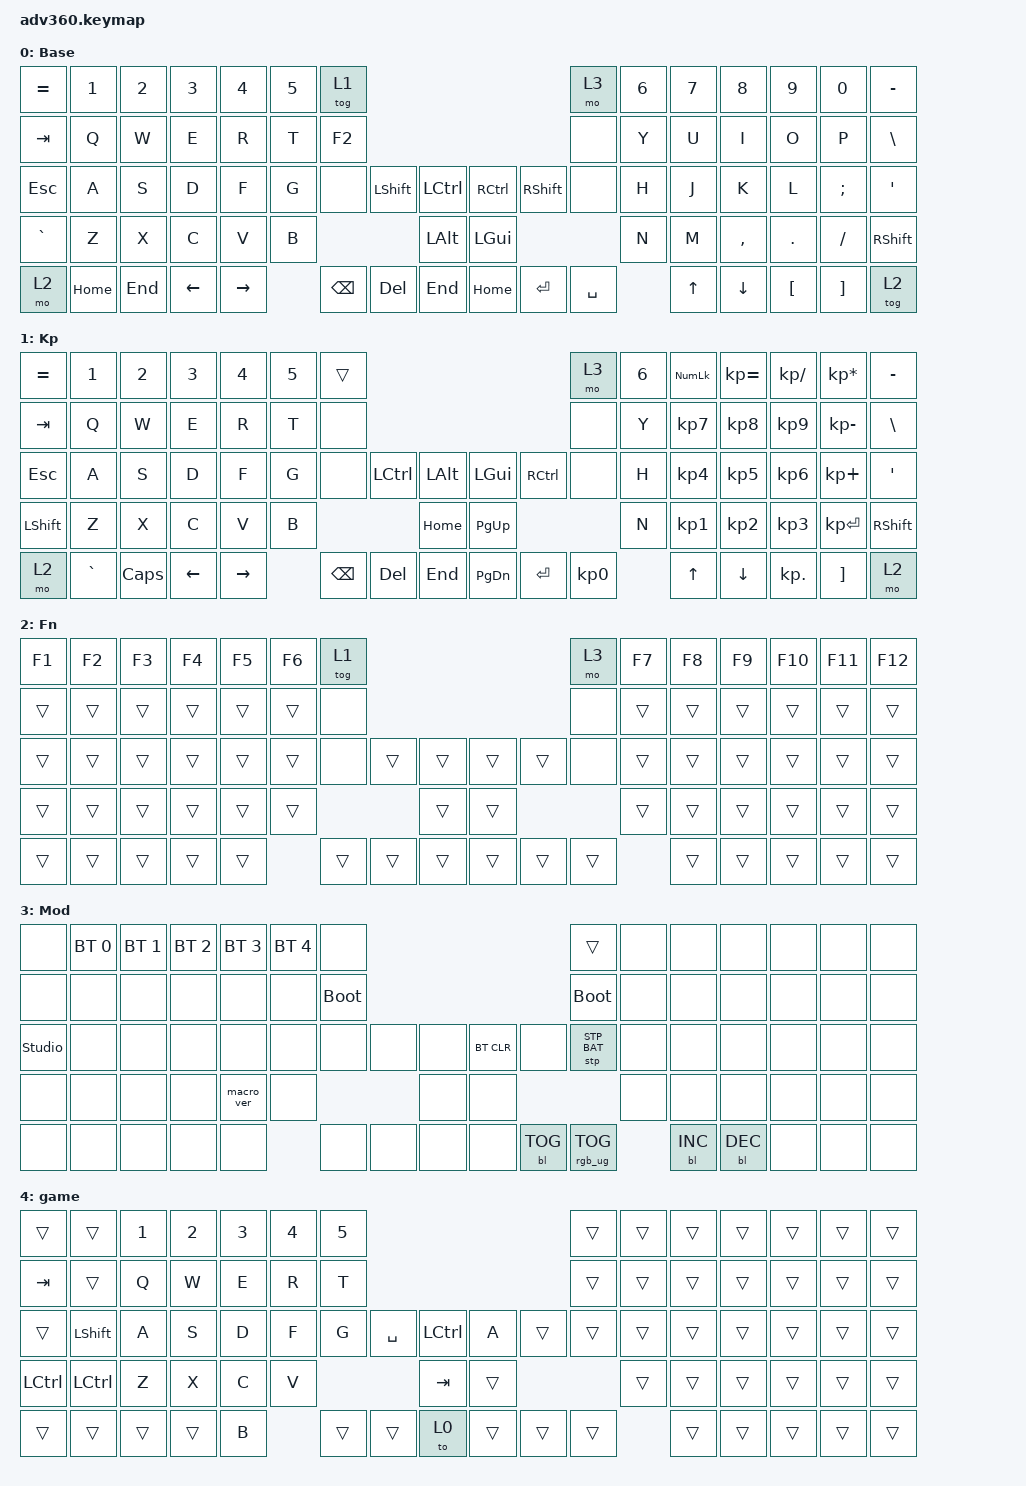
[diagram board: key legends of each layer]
#include <dt-bindings/zmk/stp.h>
#include <behaviors.dtsi>
#include <dt-bindings/zmk/backlight.h>
#include <dt-bindings/zmk/bt.h>
#include <dt-bindings/zmk/keys.h>
#include <dt-bindings/zmk/rgb.h>

/ {
    behaviors {
        #include "macros.dtsi"
      #include "version.dtsi"

        hm: homerow_mods {
            compatible = "zmk,behavior-hold-tap";
            label = "HOMEROW_MODS";
            #binding-cells = <2>;
            tapping-term-ms = <200>;
            quick_tap_ms = <175>;
            flavor = "tap-preferred";
            bindings = <&kp>, <&kp>;
        };
    };

    combos {
        compatible = "zmk,combos";

        to_game {
            bindings = <&to 4>;
            key-positions = <33 67 35>;
        };
    };

    keymap {
        compatible = "zmk,keymap";

        default_layer {
            display-name = "Base";
            bindings = <
&kp EQUAL  &kp N1    &kp N2   &kp N3    &kp N4     &kp N5  &tog 1                                                                     &mo 3      &kp N6  &kp N7  &kp N8     &kp N9    &kp N0    &kp MINUS
&kp TAB    &kp Q     &kp W    &kp E     &kp R      &kp T   &kp F2                                                                     &none      &kp Y   &kp U   &kp I      &kp O     &kp P     &kp BSLH
&kp ESC    &kp A     &kp S    &kp D     &kp F      &kp G   &none     &kp LEFT_SHIFT  &kp LCTRL         &kp RCTRL     &kp RIGHT_SHIFT  &none      &kp H   &kp J   &kp K      &kp L     &kp SEMI  &kp SQT
&kp GRAVE  &kp Z     &kp X    &kp C     &kp V      &kp B                             &kp LEFT_ALT      &kp LEFT_GUI                              &kp N   &kp M   &kp COMMA  &kp DOT   &kp FSLH  &kp RSHFT
&mo 2      &kp HOME  &kp END  &kp LEFT  &kp RIGHT          &kp BSPC  &kp DEL         &kp END           &kp HOME      &kp ENTER        &kp SPACE          &kp UP  &kp DOWN   &kp LBKT  &kp RBKT  &tog 2
            >;
        };

        keypad {
            display-name = "Kp";
            bindings = <
&kp EQUAL  &kp N1     &kp N2    &kp N3    &kp N4     &kp N5  &trans                                                   &mo 3      &kp N6  &kp KP_NUM  &kp KP_EQUAL  &kp KP_DIVIDE  &kp KP_MULTIPLY  &kp MINUS
&kp TAB    &kp Q      &kp W     &kp E     &kp R      &kp T   &none                                                    &none      &kp Y   &kp KP_N7   &kp KP_N8     &kp KP_N9      &kp KP_MINUS     &kp BSLH
&kp ESC    &kp A      &kp S     &kp D     &kp F      &kp G   &none     &kp LCTRL  &kp LALT      &kp LGUI   &kp RCTRL  &none      &kp H   &kp KP_N4   &kp KP_N5     &kp KP_N6      &kp KP_PLUS      &kp SQT
&kp LSHFT  &kp Z      &kp X     &kp C     &kp V      &kp B                        &kp HOME      &kp PG_UP                        &kp N   &kp KP_N1   &kp KP_N2     &kp KP_N3      &kp KP_ENTER     &kp RSHFT
&mo 2      &kp GRAVE  &kp CAPS  &kp LEFT  &kp RIGHT          &kp BSPC  &kp DEL    &kp END       &kp PG_DN  &kp ENTER  &kp KP_N0          &kp UP      &kp DOWN      &kp KP_DOT     &kp RBKT         &mo 2
            >;
        };

        fn {
            display-name = "Fn";
            bindings = <
&kp F1  &kp F2  &kp F3  &kp F4  &kp F5  &kp F6  &tog 1                                      &mo 3   &kp F7  &kp F8  &kp F9  &kp F10  &kp F11  &kp F12
&trans  &trans  &trans  &trans  &trans  &trans  &none                                       &none   &trans  &trans  &trans  &trans   &trans   &trans
&trans  &trans  &trans  &trans  &trans  &trans  &none   &trans  &trans      &trans  &trans  &none   &trans  &trans  &trans  &trans   &trans   &trans
&trans  &trans  &trans  &trans  &trans  &trans                  &trans      &trans                  &trans  &trans  &trans  &trans   &trans   &trans
&trans  &trans  &trans  &trans  &trans          &trans  &trans  &trans      &trans  &trans  &trans          &trans  &trans  &trans   &trans   &trans
            >;
        };

        mod {
            display-name = "Mod";
            bindings = <
&none           &bt BT_SEL 0  &bt BT_SEL 1  &bt BT_SEL 2  &bt BT_SEL 3  &bt BT_SEL 4  &none                                                  &trans           &none  &none       &none       &none  &none  &none
&none           &none         &none         &none         &none         &none         &bootloader                                            &bootloader      &none  &none       &none       &none  &none  &none
&studio_unlock  &none         &none         &none         &none         &none         &none        &none  &none      &bt BT_CLR  &none       &stp STP_BAT     &none  &none       &none       &none  &none  &none
&none           &none         &none         &none         &macro_ver    &none                             &none      &none                                    &none  &none       &none       &none  &none  &none
&none           &none         &none         &none         &none                       &none        &none  &none      &none       &bl BL_TOG  &rgb_ug RGB_TOG         &bl BL_INC  &bl BL_DEC  &none  &none  &none
            >;
        };

        game {
            bindings = <
&trans     &trans      &kp N1  &kp N2  &kp N3  &kp N4  &kp N5                                            &trans  &trans  &trans  &trans  &trans  &trans  &trans
&kp TAB    &trans      &kp Q   &kp W   &kp E   &kp R   &kp T                                             &trans  &trans  &trans  &trans  &trans  &trans  &trans
&trans     &kp LSHIFT  &kp A   &kp S   &kp D   &kp F   &kp G   &kp SPACE  &kp LCTRL      &kp A   &trans  &trans  &trans  &trans  &trans  &trans  &trans  &trans
&kp LCTRL  &kp LCTRL   &kp Z   &kp X   &kp C   &kp V                      &kp TAB        &trans                  &trans  &trans  &trans  &trans  &trans  &trans
&trans     &trans      &trans  &trans  &kp B           &trans  &trans     &to 0          &trans  &trans  &trans          &trans  &trans  &trans  &trans  &trans
            >;
        };
    };
};
